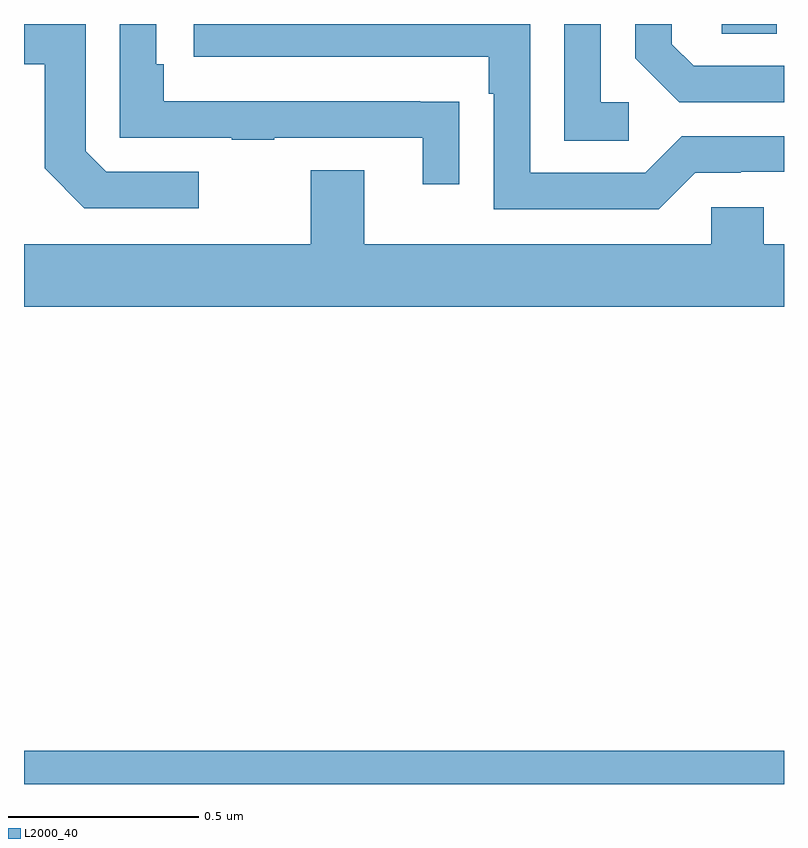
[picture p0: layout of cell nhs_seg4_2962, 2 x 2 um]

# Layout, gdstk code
import gdstk
lib = gdstk.Library(unit=1e-6, precision=1e-09)
def R(c, l, rs):  # rectangles x0, y0, x1, y1
    for r in rs: c.add(gdstk.rectangle(r[:2], r[2:], *l))
def P(c, l, *ps):  # polygons
    for p in ps: c.add(gdstk.Polygon(p, *l))
L2000_40 = (2000, 40)

nhs_seg4_2962 = lib.new_cell('nhs_seg4_2962')
R(nhs_seg4_2962, L2000_40, [(147,792.9,149,792.988), (148.836,794.875,148.981,794.9)])
P(nhs_seg4_2962, L2000_40, [(147.46,794.511),(147.216,794.511),(147.162,794.565),(147.162,794.9),(147,794.9),(147,794.794),(147.054,794.794),(147.054,794.521),(147.159,794.415),(147.46,794.415)],
  [(148.591,794.694),(148.518,794.694),(148.518,794.9),(148.422,794.9),(148.422,794.593),(148.591,794.593)],
  [(148.767,794.508),(148.886,794.508),(148.886,794.511),(149,794.511),(149,794.604),(148.731,794.604),(148.635,794.508),(148.332,794.508),(148.332,794.9),(147.447,794.9),(147.447,794.814),(148.223,794.814),(148.223,794.717),(148.236,794.717),(148.236,794.412),(148.671,794.412)],
  [(149,794.79),(148.762,794.79),(148.705,794.847),(148.705,794.9),(148.608,794.9),(148.608,794.81),(148.724,794.694),(149,794.694)],
  [(148.145,794.696),(148.043,794.696),(148.043,794.697),(147.368,794.697),(147.368,794.794),(147.348,794.794),(147.348,794.9),(147.252,794.9),(147.252,794.601),(147.547,794.601),(147.547,794.596),(147.659,794.596),(147.659,794.601),(148.049,794.601),(148.049,794.478),(148.145,794.478)],
  [(149,794.32),(148.947,794.32),(148.947,794.418),(148.809,794.418),(148.809,794.32),(147.895,794.32),(147.895,794.515),(147.755,794.515),(147.755,794.32),(147,794.32),(147,794.156),(149,794.156)])

lib.write_gds('nhs_seg4_2962.gds')
